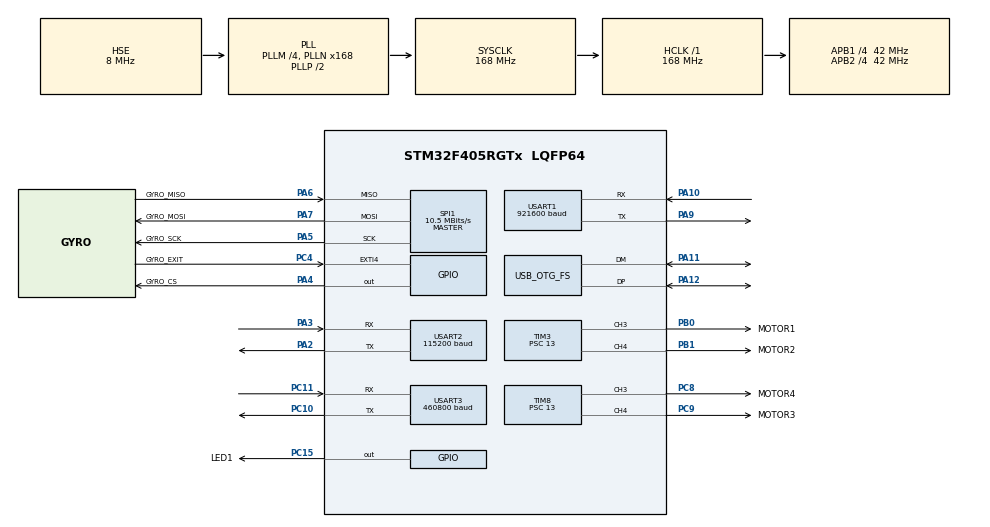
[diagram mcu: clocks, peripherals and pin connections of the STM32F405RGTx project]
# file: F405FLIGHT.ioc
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Dma.Request0=TIM3_CH3
Dma.Request1=TIM3_CH4/UP
Dma.Request2=TIM8_CH4/TRIG/COM
Dma.Request3=TIM8_CH3
Dma.Request4=USART2_RX
Dma.Request5=USART3_RX
Dma.Request6=USART3_TX
Dma.TIM3_CH3.0.Direction=DMA_MEMORY_TO_PERIPH
Dma.TIM3_CH3.0.FIFOMode=DMA_FIFOMODE_DISABLE
Dma.TIM3_CH3.0.Instance=DMA1_Stream7
Dma.TIM3_CH3.0.MemDataAlignment=DMA_MDATAALIGN_HALFWORD
Dma.TIM3_CH3.0.MemInc=DMA_MINC_ENABLE
Dma.TIM3_CH3.0.Mode=DMA_NORMAL
Dma.TIM3_CH3.0.PeriphDataAlignment=DMA_PDATAALIGN_HALFWORD
Dma.TIM3_CH3.0.PeriphInc=DMA_PINC_DISABLE
Dma.TIM3_CH3.0.Priority=DMA_PRIORITY_HIGH
Dma.TIM3_CH4/UP.1.Direction=DMA_MEMORY_TO_PERIPH
Dma.TIM3_CH4/UP.1.FIFOMode=DMA_FIFOMODE_DISABLE
Dma.TIM3_CH4/UP.1.Instance=DMA1_Stream2
Dma.TIM3_CH4/UP.1.MemDataAlignment=DMA_MDATAALIGN_HALFWORD
Dma.TIM3_CH4/UP.1.MemInc=DMA_MINC_ENABLE
Dma.TIM3_CH4/UP.1.Mode=DMA_NORMAL
Dma.TIM3_CH4/UP.1.PeriphDataAlignment=DMA_PDATAALIGN_HALFWORD
Dma.TIM3_CH4/UP.1.PeriphInc=DMA_PINC_DISABLE
Dma.TIM3_CH4/UP.1.Priority=DMA_PRIORITY_HIGH
Dma.TIM8_CH3.3.Direction=DMA_MEMORY_TO_PERIPH
Dma.TIM8_CH3.3.FIFOMode=DMA_FIFOMODE_DISABLE
Dma.TIM8_CH3.3.Instance=DMA2_Stream4
Dma.TIM8_CH3.3.MemDataAlignment=DMA_MDATAALIGN_HALFWORD
Dma.TIM8_CH3.3.MemInc=DMA_MINC_ENABLE
Dma.TIM8_CH3.3.Mode=DMA_NORMAL
Dma.TIM8_CH3.3.PeriphDataAlignment=DMA_PDATAALIGN_HALFWORD
Dma.TIM8_CH3.3.PeriphInc=DMA_PINC_DISABLE
Dma.TIM8_CH3.3.Priority=DMA_PRIORITY_HIGH
Dma.TIM8_CH4/TRIG/COM.2.Direction=DMA_MEMORY_TO_PERIPH
Dma.TIM8_CH4/TRIG/COM.2.FIFOMode=DMA_FIFOMODE_DISABLE
Dma.TIM8_CH4/TRIG/COM.2.Instance=DMA2_Stream7
Dma.TIM8_CH4/TRIG/COM.2.MemDataAlignment=DMA_MDATAALIGN_HALFWORD
Dma.TIM8_CH4/TRIG/COM.2.MemInc=DMA_MINC_ENABLE
Dma.TIM8_CH4/TRIG/COM.2.Mode=DMA_NORMAL
Dma.TIM8_CH4/TRIG/COM.2.PeriphDataAlignment=DMA_PDATAALIGN_HALFWORD
Dma.TIM8_CH4/TRIG/COM.2.PeriphInc=DMA_PINC_DISABLE
Dma.TIM8_CH4/TRIG/COM.2.Priority=DMA_PRIORITY_HIGH
Dma.USART2_RX.4.Direction=DMA_PERIPH_TO_MEMORY
Dma.USART2_RX.4.FIFOMode=DMA_FIFOMODE_DISABLE
Dma.USART2_RX.4.Instance=DMA1_Stream5
Dma.USART2_RX.4.MemDataAlignment=DMA_MDATAALIGN_BYTE
Dma.USART2_RX.4.MemInc=DMA_MINC_ENABLE
Dma.USART2_RX.4.Mode=DMA_CIRCULAR
Dma.USART2_RX.4.PeriphDataAlignment=DMA_PDATAALIGN_BYTE
Dma.USART2_RX.4.PeriphInc=DMA_PINC_DISABLE
Dma.USART2_RX.4.Priority=DMA_PRIORITY_HIGH
Dma.USART3_RX.5.Direction=DMA_PERIPH_TO_MEMORY
Dma.USART3_RX.5.FIFOMode=DMA_FIFOMODE_DISABLE
Dma.USART3_RX.5.Instance=DMA1_Stream1
Dma.USART3_RX.5.MemDataAlignment=DMA_MDATAALIGN_BYTE
Dma.USART3_RX.5.MemInc=DMA_MINC_ENABLE
Dma.USART3_RX.5.Mode=DMA_NORMAL
Dma.USART3_RX.5.PeriphDataAlignment=DMA_PDATAALIGN_BYTE
Dma.USART3_RX.5.PeriphInc=DMA_PINC_DISABLE
Dma.USART3_RX.5.Priority=DMA_PRIORITY_HIGH
Dma.USART3_TX.6.Direction=DMA_MEMORY_TO_PERIPH
Dma.USART3_TX.6.FIFOMode=DMA_FIFOMODE_DISABLE
Dma.USART3_TX.6.Instance=DMA1_Stream3
Dma.USART3_TX.6.MemDataAlignment=DMA_MDATAALIGN_BYTE
Dma.USART3_TX.6.MemInc=DMA_MINC_ENABLE
Dma.USART3_TX.6.Mode=DMA_NORMAL
Dma.USART3_TX.6.PeriphDataAlignment=DMA_PDATAALIGN_BYTE
Dma.USART3_TX.6.PeriphInc=DMA_PINC_DISABLE
Dma.USART3_TX.6.Priority=DMA_PRIORITY_HIGH
Mcu.Family=STM32F4
Mcu.Name=STM32F405RGTx
Mcu.Package=LQFP64
NVIC.DMA1_Stream1_IRQn=true\:0\:0\:false\:false\:true\:false\:true\:true
NVIC.DMA1_Stream2_IRQn=true\:0\:0\:false\:false\:true\:false\:true\:true
NVIC.DMA1_Stream3_IRQn=true\:0\:0\:false\:false\:true\:false\:true\:true
NVIC.DMA1_Stream5_IRQn=true\:0\:0\:false\:false\:true\:false\:true\:true
NVIC.DMA1_Stream7_IRQn=true\:0\:0\:false\:false\:true\:false\:true\:true
NVIC.DMA2_Stream4_IRQn=true\:0\:0\:false\:false\:true\:false\:true\:true
NVIC.DMA2_Stream7_IRQn=true\:0\:0\:false\:false\:true\:false\:true\:true
NVIC.EXTI4_IRQn=true\:4\:0\:true\:false\:true\:true\:true\:true
NVIC.OTG_FS_IRQn=true\:6\:0\:true\:false\:true\:false\:true\:true
NVIC.PriorityGroup=NVIC_PRIORITYGROUP_4
NVIC.TIM7_IRQn=true\:5\:0\:true\:false\:true\:true\:true\:true
NVIC.USART1_IRQn=true\:0\:0\:false\:false\:true\:true\:true\:true
NVIC.USART2_IRQn=true\:2\:0\:true\:true\:true\:1\:true\:true\:true
NVIC.USART3_IRQn=true\:3\:0\:true\:true\:true\:2\:true\:true\:true
PA10.Mode=Asynchronous
PA10.Signal=USART1_RX
PA11.Mode=Device_Only
PA11.Signal=USB_OTG_FS_DM
PA12.Mode=Device_Only
PA12.Signal=USB_OTG_FS_DP
PA2.GPIO_PuPd=GPIO_PULLUP
PA2.GPIO_Speed=GPIO_SPEED_FREQ_HIGH
PA2.Mode=Asynchronous
PA2.Signal=USART2_TX
PA3.GPIO_PuPd=GPIO_PULLUP
PA3.GPIO_Speed=GPIO_SPEED_FREQ_HIGH
PA3.Mode=Asynchronous
PA3.Signal=USART2_RX
PA4.GPIO_Label=GYRO_CS
PA4.Signal=GPIO_Output
PA5.GPIO_Label=GYRO_SCK
PA5.Mode=Full_Duplex_Master
PA5.Signal=SPI1_SCK
PA6.GPIO_Label=GYRO_MISO
PA6.Mode=Full_Duplex_Master
PA6.Signal=SPI1_MISO
PA7.GPIO_Label=GYRO_MOSI
PA7.Mode=Full_Duplex_Master
PA7.Signal=SPI1_MOSI
PA9.Mode=Asynchronous
PA9.Signal=USART1_TX
PB0.GPIO_Label=MOTOR1
PB0.GPIO_PuPd=GPIO_PULLDOWN
PB0.GPIO_Speed=GPIO_SPEED_FREQ_VERY_HIGH
PB0.Signal=S_TIM3_CH3
PB1.GPIO_Label=MOTOR2
PB1.GPIO_PuPd=GPIO_PULLDOWN
PB1.GPIO_Speed=GPIO_SPEED_FREQ_VERY_HIGH
PB1.Signal=S_TIM3_CH4
PC10.GPIO_PuPd=GPIO_PULLUP
PC10.GPIO_Speed=GPIO_SPEED_FREQ_VERY_HIGH
PC10.Mode=Asynchronous
PC10.Signal=USART3_TX
PC11.GPIO_PuPd=GPIO_PULLUP
PC11.Mode=Asynchronous
PC11.Signal=USART3_RX
PC15-OSC32_OUT.GPIO_Label=LED1
PC15-OSC32_OUT.Signal=GPIO_Output
PC4.GPIO_Label=GYRO_EXIT
PC4.GPIO_ModeDefaultEXTI=GPIO_MODE_IT_FALLING
PC4.GPIO_PuPd=GPIO_PULLUP
PC4.Signal=GPXTI4
PC8.GPIO_Label=MOTOR4
PC8.GPIO_PuPd=GPIO_PULLDOWN
PC8.GPIO_Speed=GPIO_SPEED_FREQ_VERY_HIGH
PC8.Signal=S_TIM8_CH3
PC9.GPIO_Label=MOTOR3
PC9.GPIO_PuPd=GPIO_PULLDOWN
PC9.GPIO_Speed=GPIO_SPEED_FREQ_VERY_HIGH
PC9.Signal=S_TIM8_CH4
PH0-OSC_IN.Mode=HSE-External-Oscillator
PH0-OSC_IN.Signal=RCC_OSC_IN
PH1-OSC_OUT.Mode=HSE-External-Oscillator
PH1-OSC_OUT.Signal=RCC_OSC_OUT
ProjectManager.HeapSize=0x600
ProjectManager.StackSize=0x800
ProjectManager.TargetToolchain=Makefile
RCC.48MHZClocksFreq_Value=48000000
RCC.AHBFreq_Value=168000000
RCC.APB1CLKDivider=RCC_HCLK_DIV4
RCC.APB1Freq_Value=42000000
RCC.APB1TimFreq_Value=84000000
RCC.APB2CLKDivider=RCC_HCLK_DIV4
RCC.APB2Freq_Value=42000000
RCC.APB2TimFreq_Value=84000000
RCC.CortexFreq_Value=168000000
RCC.HCLKFreq_Value=168000000
RCC.HSE_VALUE=8000000
RCC.HSI_VALUE=16000000
RCC.LSE_VALUE=32768
RCC.PLLM=4
RCC.PLLN=168
RCC.PLLQ=7
RCC.SYSCLKFreq_VALUE=168000000
RCC.SYSCLKSource=RCC_SYSCLKSOURCE_PLLCLK
RCC.VCOOutputFreq_Value=336000000
SH.S_TIM3_CH3.0=TIM3_CH3,PWM Generation3 CH3
SH.S_TIM3_CH4.0=TIM3_CH4,PWM Generation4 CH4
SH.S_TIM8_CH3.0=TIM8_CH3,PWM Generation3 CH3
SH.S_TIM8_CH4.0=TIM8_CH4,PWM Generation4 CH4
SPI1.BaudRatePrescaler=SPI_BAUDRATEPRESCALER_4
SPI1.CLKPolarity=SPI_POLARITY_LOW
SPI1.CalculateBaudRate=10.5 MBits/s
SPI1.Direction=SPI_DIRECTION_2LINES
SPI1.Mode=SPI_MODE_MASTER
SPI1.VirtualType=VM_MASTER
TIM3.Channel-PWM\ Generation3\ CH3=TIM_CHANNEL_3
TIM3.Channel-PWM\ Generation4\ CH4=TIM_CHANNEL_4
TIM3.OCPolarity_3=TIM_OCPOLARITY_HIGH
TIM3.OCPolarity_4=TIM_OCPOLARITY_HIGH
TIM3.Period=9
TIM3.Prescaler=13
TIM7.AutoReloadPreload=TIM_AUTORELOAD_PRELOAD_ENABLE
TIM7.Period=19
TIM7.Prescaler=8399
TIM8.Channel-PWM\ Generation3\ CH3=TIM_CHANNEL_3
TIM8.Channel-PWM\ Generation4\ CH4=TIM_CHANNEL_4
TIM8.OCPolarity_3=TIM_OCPOLARITY_HIGH
TIM8.OCPolarity_4=TIM_OCPOLARITY_HIGH
TIM8.Period=9
TIM8.Prescaler=13
USART1.BaudRate=921600
USART1.VirtualMode=VM_ASYNC
USART2.BaudRate=115200
USART2.Parity=PARITY_NONE
USART2.StopBits=STOPBITS_1
USART2.VirtualMode=VM_ASYNC
USART3.BaudRate=460800
USART3.VirtualMode=VM_ASYNC
USB_DEVICE.CLASS_NAME_FS=CDC
USB_DEVICE.VirtualMode-CDC_FS=Cdc
USB_DEVICE.VirtualModeFS=Cdc_FS
USB_OTG_FS.VirtualMode=Device_Only
VP_TIM7_VS_ClockSourceINT.Mode=Enable_Timer
VP_TIM8_VS_ClockSourceINT.Mode=Internal
VP_USB_DEVICE_VS_USB_DEVICE_CDC_FS.Mode=CDC_FS
board=custom

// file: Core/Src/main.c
/* USER CODE BEGIN Header */
/**
  ******************************************************************************
  * @file           : main.c
  * @brief          : Main program body
  ******************************************************************************
  * @attention
  *
  * Copyright (c) 2022 STMicroelectronics.
  * All rights reserved.
  *
  * This software is licensed under terms that can be found in the LICENSE file
  * in the root directory of this software component.
  * If no LICENSE file comes with this software, it is provided AS-IS.
  *
  ******************************************************************************
  */
/* USER CODE END Header */
#include "main.h"
#include "usb_device.h"

/* USER CODE BEGIN Includes */
#include "usbd_cdc_if.h"
#include "mpu6000.h"
#include "flight.h"
#include "task.h"
#include "loop.h"
#include "dshot.h"
#include "ibus.h"
#include "upper_computer.h"
#include "pid.h"
#include <stdlib.h>
/* USER CODE END Includes */

 SPI_HandleTypeDef hspi1;

TIM_HandleTypeDef htim3;
TIM_HandleTypeDef htim7;
TIM_HandleTypeDef htim8;
DMA_HandleTypeDef hdma_tim3_ch3;
DMA_HandleTypeDef hdma_tim3_ch4_up;
DMA_HandleTypeDef hdma_tim8_ch4_trig_com;
DMA_HandleTypeDef hdma_tim8_ch3;

UART_HandleTypeDef huart1;
UART_HandleTypeDef huart2;
UART_HandleTypeDef huart3;
DMA_HandleTypeDef hdma_usart2_rx;
DMA_HandleTypeDef hdma_usart3_rx;
DMA_HandleTypeDef hdma_usart3_tx;

void SystemClock_Config(void);
static void MX_GPIO_Init(void);
static void MX_SPI1_Init(void);
static void MX_USART1_UART_Init(void);
static void MX_TIM7_Init(void);
static void MX_DMA_Init(void);
static void MX_TIM8_Init(void);
static void MX_TIM3_Init(void);
static void MX_USART2_UART_Init(void);
static void MX_USART3_UART_Init(void);
static void MX_NVIC_Init(void);

/* USER CODE BEGIN 0 */
State actual_state;
State expect_state;
uint8_t ibus_buff[IBUS_BUFF_SIZE];
uint8_t upper_receive_buff[UPPER_RECEIVE_BUFF_SIZE];
uint8_t upper_send_buff[UPPER_SEND_BUFF_SIZE];
/* USER CODE END 0 */

int main(void)
{

  /* MCU Configuration--------------------------------------------------------*/

  /* Reset of all peripherals, Initializes the Flash interface and the Systick. */
  HAL_Init();

  /* USER CODE BEGIN Init */
  Filer_Init();
  /* USER CODE END Init */

  /* Configure the system clock */
  SystemClock_Config();

  /* Initialize all configured peripherals */
  MX_GPIO_Init();
  MX_USB_DEVICE_Init();
  MX_SPI1_Init();
  MX_USART1_UART_Init();
  MX_TIM7_Init();
  MX_DMA_Init();
  MX_TIM8_Init();
  MX_TIM3_Init();
  MX_USART2_UART_Init();
  MX_USART3_UART_Init();

  /* Initialize interrupts */
  MX_NVIC_Init();
  /* USER CODE BEGIN 2 */

  if(0 == MPU_Init())
  {
    usb_printf("mpu6000 init successfully\r\n");
  }
  else
  {
    usb_printf("mpu6000 init fail\n");
  }
  Pid_Init();

  HAL_TIM_Base_Start_IT(&htim7);
  __HAL_UART_ENABLE_IT(&huart2, UART_IT_IDLE);
  __HAL_UART_ENABLE_IT(&huart3, UART_IT_IDLE);
  HAL_UART_Receive_DMA(&huart2, (uint8_t*)ibus_buff, IBUS_BUFF_SIZE);
  HAL_UART_Receive_DMA(&huart3, (uint8_t*)upper_receive_buff, UPPER_RECEIVE_BUFF_SIZE);
  /* USER CODE END 2 */

  /* Infinite loop */
  /* USER CODE BEGIN WHILE */
  while (1)
  {

    // HAL_Delay(100);
    //MPU_Get_Acc_Raw(&mpu6000_data.acc_t.x, &mpu6000_data.acc_t.y, &mpu6000_data.acc_t.z);
    //MPU_Get_Gyro_Raw(&mpu6000_data.gyro_t.x, &mpu6000_data.gyro_t.y, &mpu6000_data.gyro_t.z);

    /* USER CODE END WHILE */

  }
}

void SystemClock_Config(void)
{
  RCC_OscInitTypeDef RCC_OscInitStruct = {0};
  RCC_ClkInitTypeDef RCC_ClkInitStruct = {0};

  /** Configure the main internal regulator output voltage
  */
  __HAL_RCC_PWR_CLK_ENABLE();
  __HAL_PWR_VOLTAGESCALING_CONFIG(PWR_REGULATOR_VOLTAGE_SCALE1);

  /** Initializes the RCC Oscillators according to the specified parameters
  * in the RCC_OscInitTypeDef structure.
  */
  RCC_OscInitStruct.OscillatorType = RCC_OSCILLATORTYPE_HSE;
  RCC_OscInitStruct.HSEState = RCC_HSE_ON;
  RCC_OscInitStruct.PLL.PLLState = RCC_PLL_ON;
  RCC_OscInitStruct.PLL.PLLSource = RCC_PLLSOURCE_HSE;
  RCC_OscInitStruct.PLL.PLLM = 4;
  RCC_OscInitStruct.PLL.PLLN = 168;
  RCC_OscInitStruct.PLL.PLLP = RCC_PLLP_DIV2;
  RCC_OscInitStruct.PLL.PLLQ = 7;
  if (HAL_RCC_OscConfig(&RCC_OscInitStruct) != HAL_OK)
  {
    Error_Handler();
  }

  /** Initializes the CPU, AHB and APB buses clocks
  */
  RCC_ClkInitStruct.ClockType = RCC_CLOCKTYPE_HCLK|RCC_CLOCKTYPE_SYSCLK
                              |RCC_CLOCKTYPE_PCLK1|RCC_CLOCKTYPE_PCLK2;
  RCC_ClkInitStruct.SYSCLKSource = RCC_SYSCLKSOURCE_PLLCLK;
  RCC_ClkInitStruct.AHBCLKDivider = RCC_SYSCLK_DIV1;
  RCC_ClkInitStruct.APB1CLKDivider = RCC_HCLK_DIV4;
  RCC_ClkInitStruct.APB2CLKDivider = RCC_HCLK_DIV4;

  if (HAL_RCC_ClockConfig(&RCC_ClkInitStruct, FLASH_LATENCY_5) != HAL_OK)
  {
    Error_Handler();
  }
}

/**
  * @brief NVIC Configuration.
  * @retval None
  */
static void MX_NVIC_Init(void)
{
  /* USART2_IRQn interrupt configuration */
  HAL_NVIC_SetPriority(USART2_IRQn, 2, 0);
  HAL_NVIC_EnableIRQ(USART2_IRQn);
  /* USART3_IRQn interrupt configuration */
  HAL_NVIC_SetPriority(USART3_IRQn, 3, 0);
  HAL_NVIC_EnableIRQ(USART3_IRQn);
}

static void MX_SPI1_Init(void)
{

  /* SPI1 parameter configuration*/
  hspi1.Instance = SPI1;
  hspi1.Init.Mode = SPI_MODE_MASTER;
  hspi1.Init.Direction = SPI_DIRECTION_2LINES;
  hspi1.Init.DataSize = SPI_DATASIZE_8BIT;
  hspi1.Init.CLKPolarity = SPI_POLARITY_LOW;
  hspi1.Init.CLKPhase = SPI_PHASE_1EDGE;
  hspi1.Init.NSS = SPI_NSS_SOFT;
  hspi1.Init.BaudRatePrescaler = SPI_BAUDRATEPRESCALER_4;
  hspi1.Init.FirstBit = SPI_FIRSTBIT_MSB;
  hspi1.Init.TIMode = SPI_TIMODE_DISABLE;
  hspi1.Init.CRCCalculation = SPI_CRCCALCULATION_DISABLE;
  hspi1.Init.CRCPolynomial = 10;
  if (HAL_SPI_Init(&hspi1) != HAL_OK)
  {
    Error_Handler();
  }

}

static void MX_TIM3_Init(void)
{

  TIM_MasterConfigTypeDef sMasterConfig = {0};
  TIM_OC_InitTypeDef sConfigOC = {0};

  htim3.Instance = TIM3;
  htim3.Init.Prescaler = 13;
  htim3.Init.CounterMode = TIM_COUNTERMODE_UP;
  htim3.Init.Period = 9;
  htim3.Init.ClockDivision = TIM_CLOCKDIVISION_DIV1;
  htim3.Init.AutoReloadPreload = TIM_AUTORELOAD_PRELOAD_DISABLE;
  if (HAL_TIM_PWM_Init(&htim3) != HAL_OK)
  {
    Error_Handler();
  }
  sMasterConfig.MasterOutputTrigger = TIM_TRGO_RESET;
  sMasterConfig.MasterSlaveMode = TIM_MASTERSLAVEMODE_DISABLE;
  if (HAL_TIMEx_MasterConfigSynchronization(&htim3, &sMasterConfig) != HAL_OK)
  {
    Error_Handler();
  }
  sConfigOC.OCMode = TIM_OCMODE_PWM1;
  sConfigOC.Pulse = 0;
  sConfigOC.OCPolarity = TIM_OCPOLARITY_HIGH;
  sConfigOC.OCFastMode = TIM_OCFAST_DISABLE;
  if (HAL_TIM_PWM_ConfigChannel(&htim3, &sConfigOC, TIM_CHANNEL_3) != HAL_OK)
  {
    Error_Handler();
  }
  if (HAL_TIM_PWM_ConfigChannel(&htim3, &sConfigOC, TIM_CHANNEL_4) != HAL_OK)
  {
    Error_Handler();
  }
  HAL_TIM_MspPostInit(&htim3);

}

static void MX_TIM7_Init(void)
{

  TIM_MasterConfigTypeDef sMasterConfig = {0};

  htim7.Instance = TIM7;
  htim7.Init.Prescaler = 8399;
  htim7.Init.CounterMode = TIM_COUNTERMODE_UP;
  htim7.Init.Period = 19;
  htim7.Init.AutoReloadPreload = TIM_AUTORELOAD_PRELOAD_ENABLE;
  if (HAL_TIM_Base_Init(&htim7) != HAL_OK)
  {
    Error_Handler();
  }
  sMasterConfig.MasterOutputTrigger = TIM_TRGO_RESET;
  sMasterConfig.MasterSlaveMode = TIM_MASTERSLAVEMODE_DISABLE;
  if (HAL_TIMEx_MasterConfigSynchronization(&htim7, &sMasterConfig) != HAL_OK)
  {
    Error_Handler();
  }

}

static void MX_TIM8_Init(void)
{

  TIM_ClockConfigTypeDef sClockSourceConfig = {0};
  TIM_MasterConfigTypeDef sMasterConfig = {0};
  TIM_OC_InitTypeDef sConfigOC = {0};
  TIM_BreakDeadTimeConfigTypeDef sBreakDeadTimeConfig = {0};

  htim8.Instance = TIM8;
  htim8.Init.Prescaler = 13;
  htim8.Init.CounterMode = TIM_COUNTERMODE_UP;
  htim8.Init.Period = 9;
  htim8.Init.ClockDivision = TIM_CLOCKDIVISION_DIV1;
  htim8.Init.RepetitionCounter = 0;
  htim8.Init.AutoReloadPreload = TIM_AUTORELOAD_PRELOAD_DISABLE;
  if (HAL_TIM_Base_Init(&htim8) != HAL_OK)
  {
    Error_Handler();
  }
  sClockSourceConfig.ClockSource = TIM_CLOCKSOURCE_INTERNAL;
  if (HAL_TIM_ConfigClockSource(&htim8, &sClockSourceConfig) != HAL_OK)
  {
    Error_Handler();
  }
  if (HAL_TIM_PWM_Init(&htim8) != HAL_OK)
  {
    Error_Handler();
  }
  sMasterConfig.MasterOutputTrigger = TIM_TRGO_RESET;
  sMasterConfig.MasterSlaveMode = TIM_MASTERSLAVEMODE_DISABLE;
  if (HAL_TIMEx_MasterConfigSynchronization(&htim8, &sMasterConfig) != HAL_OK)
  {
    Error_Handler();
  }
  sConfigOC.OCMode = TIM_OCMODE_PWM1;
  sConfigOC.Pulse = 0;
  sConfigOC.OCPolarity = TIM_OCPOLARITY_HIGH;
  sConfigOC.OCNPolarity = TIM_OCNPOLARITY_HIGH;
  sConfigOC.OCFastMode = TIM_OCFAST_DISABLE;
  sConfigOC.OCIdleState = TIM_OCIDLESTATE_RESET;
  sConfigOC.OCNIdleState = TIM_OCNIDLESTATE_RESET;
  if (HAL_TIM_PWM_ConfigChannel(&htim8, &sConfigOC, TIM_CHANNEL_3) != HAL_OK)
  {
    Error_Handler();
  }
  if (HAL_TIM_PWM_ConfigChannel(&htim8, &sConfigOC, TIM_CHANNEL_4) != HAL_OK)
  {
    Error_Handler();
  }
  sBreakDeadTimeConfig.OffStateRunMode = TIM_OSSR_DISABLE;
  sBreakDeadTimeConfig.OffStateIDLEMode = TIM_OSSI_DISABLE;
  sBreakDeadTimeConfig.LockLevel = TIM_LOCKLEVEL_OFF;
  sBreakDeadTimeConfig.DeadTime = 0;
  sBreakDeadTimeConfig.BreakState = TIM_BREAK_DISABLE;
  sBreakDeadTimeConfig.BreakPolarity = TIM_BREAKPOLARITY_HIGH;
  sBreakDeadTimeConfig.AutomaticOutput = TIM_AUTOMATICOUTPUT_DISABLE;
  if (HAL_TIMEx_ConfigBreakDeadTime(&htim8, &sBreakDeadTimeConfig) != HAL_OK)
  {
    Error_Handler();
  }
  HAL_TIM_MspPostInit(&htim8);

}

static void MX_USART1_UART_Init(void)
{

  huart1.Instance = USART1;
  huart1.Init.BaudRate = 921600;
  huart1.Init.WordLength = UART_WORDLENGTH_8B;
  huart1.Init.StopBits = UART_STOPBITS_1;
  huart1.Init.Parity = UART_PARITY_NONE;
  huart1.Init.Mode = UART_MODE_TX_RX;
  huart1.Init.HwFlowCtl = UART_HWCONTROL_NONE;
  huart1.Init.OverSampling = UART_OVERSAMPLING_16;
  if (HAL_UART_Init(&huart1) != HAL_OK)
  {
    Error_Handler();
  }

}

static void MX_USART2_UART_Init(void)
{

  huart2.Instance = USART2;
  huart2.Init.BaudRate = 115200;
  huart2.Init.WordLength = UART_WORDLENGTH_8B;
  huart2.Init.StopBits = UART_STOPBITS_1;
  huart2.Init.Parity = UART_PARITY_NONE;
  huart2.Init.Mode = UART_MODE_TX_RX;
  huart2.Init.HwFlowCtl = UART_HWCONTROL_NONE;
  huart2.Init.OverSampling = UART_OVERSAMPLING_16;
  if (HAL_UART_Init(&huart2) != HAL_OK)
  {
    Error_Handler();
  }

}

static void MX_USART3_UART_Init(void)
{

  huart3.Instance = USART3;
  huart3.Init.BaudRate = 460800;
  huart3.Init.WordLength = UART_WORDLENGTH_8B;
  huart3.Init.StopBits = UART_STOPBITS_1;
  huart3.Init.Parity = UART_PARITY_NONE;
  huart3.Init.Mode = UART_MODE_TX_RX;
  huart3.Init.HwFlowCtl = UART_HWCONTROL_NONE;
  huart3.Init.OverSampling = UART_OVERSAMPLING_16;
  if (HAL_UART_Init(&huart3) != HAL_OK)
  {
    Error_Handler();
  }

}

static void MX_DMA_Init(void)
{

  /* DMA controller clock enable */
  __HAL_RCC_DMA1_CLK_ENABLE();
  __HAL_RCC_DMA2_CLK_ENABLE();

  /* DMA interrupt init */
  /* DMA1_Stream1_IRQn interrupt configuration */
  HAL_NVIC_SetPriority(DMA1_Stream1_IRQn, 0, 0);
  HAL_NVIC_EnableIRQ(DMA1_Stream1_IRQn);
  /* DMA1_Stream2_IRQn interrupt configuration */
  HAL_NVIC_SetPriority(DMA1_Stream2_IRQn, 0, 0);
  HAL_NVIC_EnableIRQ(DMA1_Stream2_IRQn);
  /* DMA1_Stream3_IRQn interrupt configuration */
  HAL_NVIC_SetPriority(DMA1_Stream3_IRQn, 0, 0);
  HAL_NVIC_EnableIRQ(DMA1_Stream3_IRQn);
  /* DMA1_Stream5_IRQn interrupt configuration */
  HAL_NVIC_SetPriority(DMA1_Stream5_IRQn, 0, 0);
  HAL_NVIC_EnableIRQ(DMA1_Stream5_IRQn);
  /* DMA1_Stream7_IRQn interrupt configuration */
  HAL_NVIC_SetPriority(DMA1_Stream7_IRQn, 0, 0);
  HAL_NVIC_EnableIRQ(DMA1_Stream7_IRQn);
  /* DMA2_Stream4_IRQn interrupt configuration */
  HAL_NVIC_SetPriority(DMA2_Stream4_IRQn, 0, 0);
  HAL_NVIC_EnableIRQ(DMA2_Stream4_IRQn);
  /* DMA2_Stream7_IRQn interrupt configuration */
  HAL_NVIC_SetPriority(DMA2_Stream7_IRQn, 0, 0);
  HAL_NVIC_EnableIRQ(DMA2_Stream7_IRQn);

}

static void MX_GPIO_Init(void)
{
  GPIO_InitTypeDef GPIO_InitStruct = {0};

  /* GPIO Ports Clock Enable */
  __HAL_RCC_GPIOC_CLK_ENABLE();
  __HAL_RCC_GPIOH_CLK_ENABLE();
  __HAL_RCC_GPIOA_CLK_ENABLE();
  __HAL_RCC_GPIOB_CLK_ENABLE();

  /*Configure GPIO pin Output Level */
  HAL_GPIO_WritePin(LED1_GPIO_Port, LED1_Pin, GPIO_PIN_RESET);

  /*Configure GPIO pin Output Level */
  HAL_GPIO_WritePin(GYRO_CS_GPIO_Port, GYRO_CS_Pin, GPIO_PIN_RESET);

  /*Configure GPIO pin : LED1_Pin */
  GPIO_InitStruct.Pin = LED1_Pin;
  GPIO_InitStruct.Mode = GPIO_MODE_OUTPUT_PP;
  GPIO_InitStruct.Pull = GPIO_NOPULL;
  GPIO_InitStruct.Speed = GPIO_SPEED_FREQ_LOW;
  HAL_GPIO_Init(LED1_GPIO_Port, &GPIO_InitStruct);

  /*Configure GPIO pin : GYRO_CS_Pin */
  GPIO_InitStruct.Pin = GYRO_CS_Pin;
  GPIO_InitStruct.Mode = GPIO_MODE_OUTPUT_PP;
  GPIO_InitStruct.Pull = GPIO_NOPULL;
  GPIO_InitStruct.Speed = GPIO_SPEED_FREQ_LOW;
  HAL_GPIO_Init(GYRO_CS_GPIO_Port, &GPIO_InitStruct);

  /*Configure GPIO pin : GYRO_EXIT_Pin */
  GPIO_InitStruct.Pin = GYRO_EXIT_Pin;
  GPIO_InitStruct.Mode = GPIO_MODE_IT_FALLING;
  GPIO_InitStruct.Pull = GPIO_PULLUP;
  HAL_GPIO_Init(GYRO_EXIT_GPIO_Port, &GPIO_InitStruct);

  /* EXTI interrupt init*/
  HAL_NVIC_SetPriority(EXTI4_IRQn, 4, 0);
  HAL_NVIC_EnableIRQ(EXTI4_IRQn);

}

void Error_Handler(void)
{
  __disable_irq();
  while (1)
  {
  }
}
